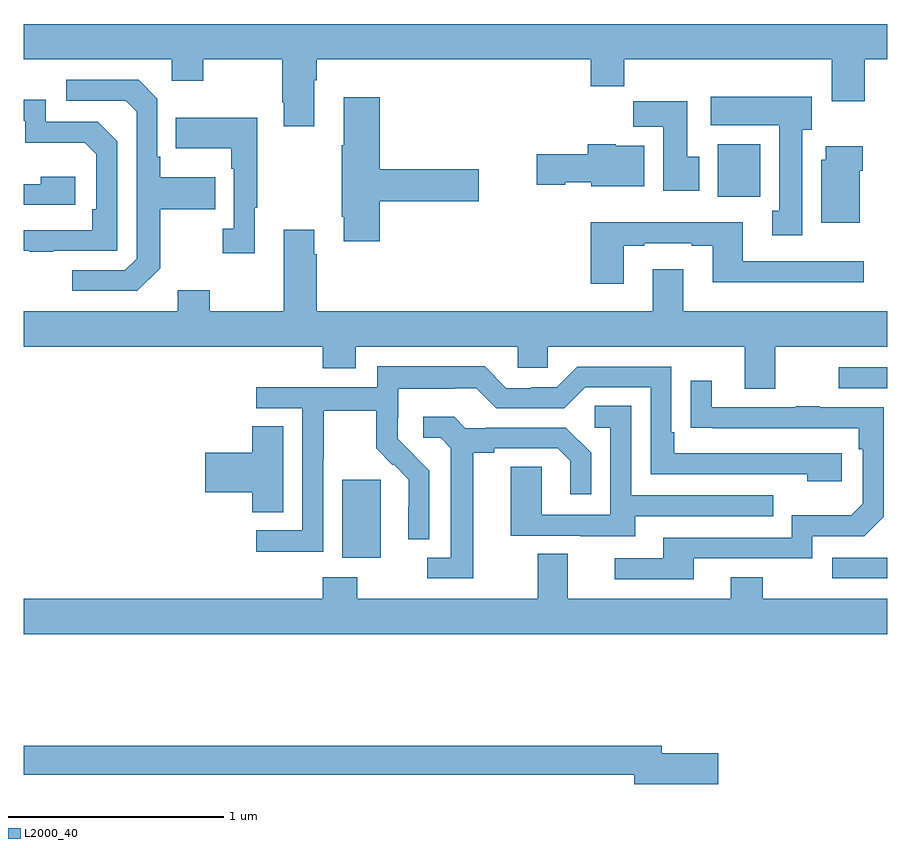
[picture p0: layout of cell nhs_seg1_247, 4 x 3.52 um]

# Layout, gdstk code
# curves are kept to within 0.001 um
import gdstk
lib = gdstk.Library(unit=1e-6, precision=1e-09)
def R(c, l, rs):  # rectangles x0, y0, x1, y1
    for r in rs: c.add(gdstk.rectangle(r[:2], r[2:], *l))
def P(c, l, *ps):  # polygons
    for p in ps: c.add(gdstk.Polygon(p, *l))
L2000_40 = (2000, 40)

nhs_seg1_247 = lib.new_cell('nhs_seg1_247')
R(nhs_seg1_247, L2000_40, [(126.747,569.307,127,569.403), (124.475,569.402,124.654,569.763), (126.777,570.189,127,570.285), (126.215,571.076,126.412,571.318)])
P(nhs_seg1_247, L2000_40, [(124.345,571.616),(124.358,571.616),(124.358,571.712),(125.627,571.712),(125.627,571.588),(125.783,571.588),(125.783,571.712),(126.743,571.712),(126.743,571.518),(126.896,571.518),(126.896,571.712),(127,571.712),(127,571.876),(123,571.876),(123,571.712),(123.684,571.712),(123.684,571.613),(123.831,571.613),(123.831,571.712),(124.198,571.712),(124.198,571.513),(124.205,571.513),(124.205,571.401),(124.345,571.401)],
  [(123.631,570.745),(123.631,571.018),(123.887,571.018),(123.887,571.165),(123.631,571.165),(123.631,571.261),(123.618,571.261),(123.618,571.53),(123.531,571.617),(123.195,571.617),(123.195,571.521),(123.471,571.521),(123.522,571.47),(123.522,570.789),(123.468,570.735),(123.225,570.735),(123.225,570.639),(123.525,570.639)],
  [(126.607,571.386),(126.652,571.386),(126.652,571.54),(126.183,571.54),(126.183,571.406),(126.5,571.406),(126.5,571.01),(126.467,571.01),(126.467,570.897),(126.607,570.897)],
  [(124.649,571.055),(125.107,571.055),(125.107,571.202),(124.649,571.202),(124.649,571.537),(124.481,571.537),(124.481,571.313),(124.474,571.313),(124.474,570.982),(124.481,570.982),(124.481,570.87),(124.649,570.87)],
  [(123.137,570.825),(123.432,570.825),(123.432,571.332),(123.342,571.422),(123.102,571.422),(123.102,571.524),(123,571.524),(123,571.428),(123.006,571.428),(123.006,571.325),(123.283,571.325),(123.336,571.272),(123.336,571.018),(123.316,571.018),(123.316,570.921),(123,570.921),(123,570.825),(123.025,570.825),(123.025,570.82),(123.137,570.82)],
  [(126.13,571.26),(126.073,571.26),(126.073,571.519),(125.824,571.519),(125.824,571.4),(125.963,571.4),(125.963,571.104),(126.13,571.104)],
  [(124.069,571.025),(124.081,571.025),(124.081,571.441),(123.703,571.441),(123.703,571.301),(123.96,571.301),(123.96,571.205),(123.972,571.205),(123.972,570.926),(123.921,570.926),(123.921,570.813),(124.069,570.813)],
  [(125.875,571.312),(125.742,571.312),(125.742,571.318),(125.612,571.318),(125.612,571.272),(125.376,571.272),(125.376,571.13),(125.508,571.13),(125.508,571.142),(125.628,571.142),(125.628,571.124),(125.875,571.124)],
  [(126.874,571.196),(126.887,571.196),(126.887,571.309),(126.716,571.309),(126.716,571.248),(126.695,571.248),(126.695,570.956),(126.874,570.956)],
  [(123.238,571.168),(123.077,571.168),(123.077,571.134),(123,571.134),(123,571.038),(123.238,571.038)],
  [(125.779,570.849),(125.875,570.849),(125.875,570.861),(126.095,570.861),(126.095,570.849),(126.191,570.849),(126.191,570.68),(126.892,570.68),(126.892,570.777),(126.331,570.777),(126.331,570.958),(125.627,570.958),(125.627,570.672),(125.779,570.672)],
  [(126.481,570.38),(127,570.38),(127,570.544),(126.055,570.544),(126.055,570.739),(125.915,570.739),(125.915,570.544),(124.358,570.544),(124.358,570.809),(124.345,570.809),(124.345,570.922),(124.205,570.922),(124.205,570.544),(123.861,570.544),(123.861,570.643),(123.713,570.643),(123.713,570.544),(123,570.544),(123,570.38),(124.385,570.38),(124.385,570.281),(124.537,570.281),(124.537,570.38),(125.289,570.38),(125.289,570.282),(125.427,570.282),(125.427,570.38),(126.341,570.38),(126.341,570.186),(126.481,570.186)],
  [(124.386,569.86),(124.389,569.86),(124.389,570.084),(124.633,570.084),(124.633,569.909),(124.71,569.832),(124.713,569.835),(124.784,569.765),(124.784,569.642),(124.782,569.642),(124.782,569.488),(124.878,569.488),(124.878,569.806),(124.732,569.954),(124.732,570.051),(124.734,570.051),(124.734,570.185),(124.997,570.185),(124.997,570.189),(125.097,570.189),(125.19,570.096),(125.505,570.096),(125.601,570.192),(125.904,570.192),(125.904,569.79),(126.629,569.79),(126.629,569.756),(126.79,569.756),(126.79,569.886),(126.013,569.886),(126.013,569.983),(126,569.983),(126,570.288),(125.565,570.288),(125.469,570.192),(125.351,570.192),(125.351,570.189),(125.235,570.189),(125.135,570.289),(124.638,570.289),(124.638,570.192),(124.077,570.192),(124.077,570.096),(124.29,570.096),(124.29,569.529),(124.077,569.529),(124.077,569.431),(124.386,569.431)],
  [(126.103,569.4),(126.654,569.4),(126.654,569.502),(126.894,569.502),(126.984,569.592),(126.984,570.099),(126.689,570.099),(126.689,570.104),(126.577,570.104),(126.577,570.099),(126.187,570.099),(126.187,570.223),(126.091,570.223),(126.091,570.004),(126.868,570.003),(126.868,569.906),(126.888,569.906),(126.888,569.652),(126.835,569.599),(126.558,569.599),(126.558,569.496),(125.963,569.496),(125.963,569.4),(125.739,569.4),(125.739,569.304),(126.103,569.304)],
  [(125.833,569.595),(126.473,569.595),(126.473,569.691),(125.814,569.691),(125.814,570.107),(125.646,570.107),(125.646,570.006),(125.718,570.006),(125.718,569.601),(125.4,569.601),(125.4,569.825),(125.255,569.825),(125.255,569.505),(125.579,569.505),(125.579,569.501),(125.833,569.501)],
  [(125.083,569.888),(125.179,569.888),(125.179,569.91),(125.474,569.91),(125.531,569.853),(125.531,569.697),(125.628,569.697),(125.628,569.89),(125.512,570.006),(125.14,570.006),(125.14,570.003),(125.046,570.003),(124.994,570.055),(124.851,570.055),(124.851,569.958),(124.932,569.958),(124.979,569.911),(124.979,569.403),(124.869,569.403),(124.869,569.307),(125.083,569.307)],
  [(124.201,570.011),(124.058,570.011),(124.058,569.888),(123.84,569.888),(123.84,569.705),(124.058,569.705),(124.058,569.614),(124.201,569.614)],
  [(127,569.212),(126.423,569.212),(126.423,569.311),(126.275,569.311),(126.275,569.212),(125.521,569.212),(125.521,569.42),(125.381,569.42),(125.381,569.212),(124.545,569.212),(124.545,569.311),(124.385,569.311),(124.385,569.212),(123,569.212),(123,569.048),(127,569.048)],
  [(126.217,568.496),(125.956,568.496),(125.956,568.532),(123,568.532),(123,568.396),(125.828,568.396),(125.828,568.354),(126.217,568.354)])

lib.write_gds('nhs_seg1_247.gds')
